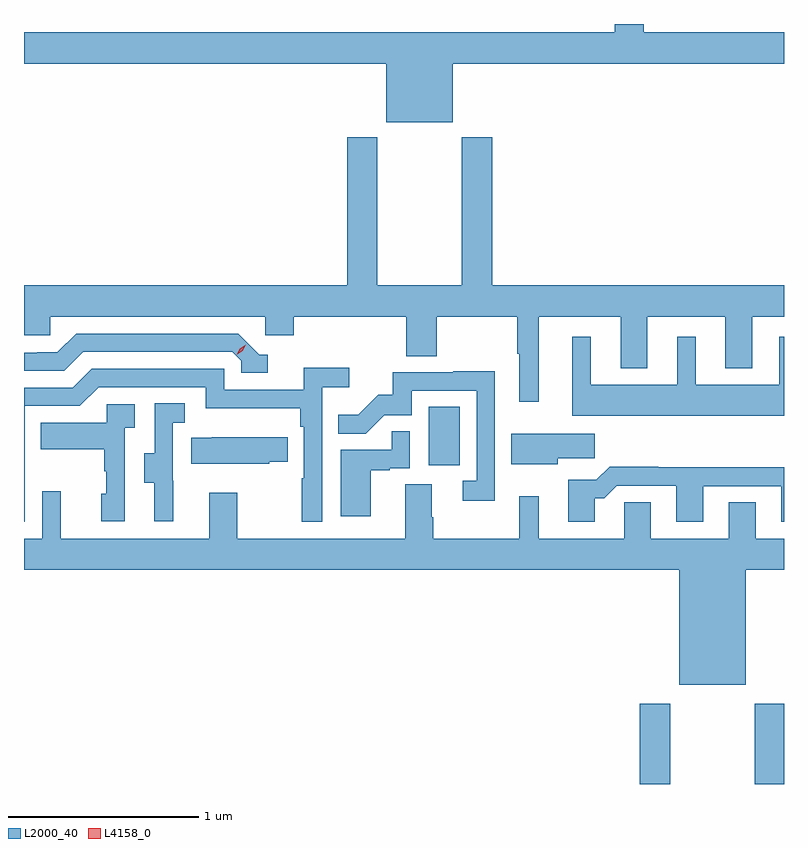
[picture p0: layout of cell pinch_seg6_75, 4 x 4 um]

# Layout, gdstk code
import gdstk
lib = gdstk.Library(unit=1e-6, precision=1e-09)
def R(c, l, rs):  # rectangles x0, y0, x1, y1
    for r in rs: c.add(gdstk.rectangle(r[:2], r[2:], *l))
def P(c, l, *ps):  # polygons
    for p in ps: c.add(gdstk.Polygon(p, *l))
L2000_40 = (2000, 40)
L4158_0 = (4158, 0)

pinch_seg6_75 = lib.new_cell('pinch_seg6_75')
R(pinch_seg6_75, L2000_40, [(931.043,922.232,931.203,922.654), (931.648,922.232,931.801,922.654), (929.93,923.91,930.094,924.217)])
P(pinch_seg6_75, L2000_40, [(930.058,926.024),(931.801,926.024),(931.801,926.188),(931.063,926.188),(931.063,926.232),(930.911,926.232),(930.911,926.188),(927.801,926.188),(927.801,926.024),(929.708,926.024),(929.708,925.715),(930.058,925.715)],
  [(930.511,924.692),(930.941,924.692),(930.941,924.419),(931.081,924.419),(931.081,924.692),(931.493,924.692),(931.493,924.419),(931.633,924.419),(931.633,924.692),(931.801,924.692),(931.801,924.856),(930.266,924.856),(930.266,925.636),(930.106,925.636),(930.106,924.856),(929.661,924.856),(929.661,925.636),(929.501,925.636),(929.501,924.856),(927.801,924.856),(927.801,924.594),(927.939,924.594),(927.939,924.692),(929.07,924.692),(929.07,924.594),(929.222,924.594),(929.222,924.692),(929.813,924.692),(929.813,924.484),(929.973,924.484),(929.973,924.692),(930.397,924.692),(930.397,924.496),(930.407,924.496),(930.407,924.243),(930.511,924.243)],
  [(929.083,924.492),(929.04,924.492),(928.929,924.603),(928.076,924.603),(927.977,924.504),(927.87,924.504),(927.87,924.501),(927.801,924.501),(927.801,924.408),(928.014,924.408),(928.113,924.507),(928.896,924.507),(928.944,924.459),(928.944,924.396),(929.083,924.396)],
  [(931.801,924.586),(931.775,924.586),(931.775,924.334),(931.336,924.334),(931.336,924.586),(931.238,924.586),(931.238,924.334),(930.784,924.334),(930.784,924.586),(930.686,924.586),(930.686,924.17),(931.801,924.17)],
  [(927.804,924.222),(928.095,924.222),(928.194,924.321),(928.758,924.321),(928.758,924.209),(929.254,924.209),(929.254,924.113),(929.274,924.113),(929.274,923.84),(929.262,923.84),(929.262,923.613),(929.37,923.613),(929.37,924.32),(929.512,924.32),(929.512,924.422),(929.273,924.422),(929.273,924.306),(928.854,924.306),(928.854,924.417),(928.157,924.417),(928.058,924.318),(927.801,924.318),(927.801,923.613),(927.804,923.613)],
  [(930.279,924.404),(930.061,924.404),(930.061,924.399),(929.743,924.399),(929.743,924.282),(929.666,924.282),(929.559,924.175),(929.455,924.175),(929.455,924.076),(929.599,924.076),(929.697,924.174),(929.841,924.174),(929.841,924.303),(930.183,924.303),(930.183,923.829),(930.111,923.829),(930.111,923.724),(930.279,923.724)],
  [(928.586,923.829),(928.584,923.829),(928.584,924.133),(928.648,924.133),(928.648,924.236),(928.488,924.236),(928.488,923.973),(928.433,923.973),(928.433,923.818),(928.487,923.818),(928.487,923.616),(928.586,923.616)],
  [(928.332,924.107),(928.384,924.107),(928.384,924.231),(928.236,924.231),(928.236,924.133),(927.889,924.133),(927.889,923.993),(928.224,923.993),(928.224,923.879),(928.234,923.879),(928.234,923.76),(928.208,923.76),(928.208,923.616),(928.332,923.616)],
  [(929.626,923.883),(929.726,923.883),(929.726,923.895),(929.832,923.895),(929.832,924.089),(929.737,924.089),(929.737,923.991),(929.468,923.991),(929.468,923.64),(929.626,923.64)],
  [(930.61,923.947),(930.805,923.947),(930.805,924.076),(930.366,924.076),(930.366,923.915),(930.61,923.915)],
  [(929.091,923.929),(929.189,923.929),(929.189,924.058),(928.789,924.058),(928.789,924.055),(928.681,924.055),(928.681,923.918),(929.091,923.918)],
  [(930.805,923.735),(930.854,923.735),(930.921,923.802),(931.235,923.802),(931.235,923.613),(931.375,923.613),(931.375,923.799),(931.787,923.799),(931.787,923.613),(931.801,923.613),(931.801,923.9),(931.139,923.9),(931.139,923.903),(930.884,923.903),(930.814,923.833),(930.665,923.833),(930.665,923.613),(930.805,923.613)],
  [(931.6,923.36),(931.801,923.36),(931.801,923.524),(931.651,923.524),(931.651,923.714),(931.511,923.714),(931.511,923.524),(931.099,923.524),(931.099,923.714),(930.96,923.714),(930.96,923.524),(930.511,923.524),(930.511,923.746),(930.407,923.746),(930.407,923.524),(929.955,923.524),(929.955,923.636),(929.947,923.636),(929.947,923.81),(929.807,923.81),(929.807,923.524),(928.923,923.524),(928.923,923.764),(928.775,923.764),(928.775,923.524),(927.995,923.524),(927.995,923.773),(927.897,923.773),(927.897,923.524),(927.801,923.524),(927.801,923.36),(931.25,923.36),(931.25,922.754),(931.6,922.754)])
P(pinch_seg6_75, L4158_0, [(928.921,924.492),(928.921,924.492),(928.937,924.524),(928.968,924.544),(928.968,924.544),(928.968,924.544),(928.952,924.511),(928.922,924.492)])

lib.write_gds('pinch_seg6_75.gds')
